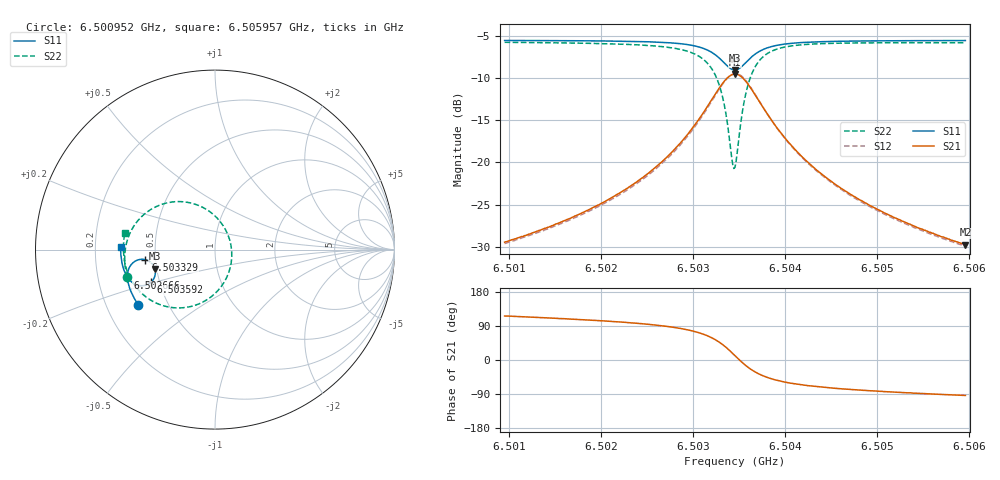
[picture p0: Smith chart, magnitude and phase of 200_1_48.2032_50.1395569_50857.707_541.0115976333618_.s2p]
#  HZ  S  RI  R  50.00
! Rohde & Schwarz Vector Network Analyzer
! Rohde-Schwarz,ZNB20-2Port,1311601062101988,3.16
! Created: UTC 3/20/2024, 11:44:59 AM
! freq[Hz]  re:S11  im:S11  re:S21  im:S21  re:S12  im:S12  re:S22  im:S22
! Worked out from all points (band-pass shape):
!   401 points, 6.500952 GHz to 6.505957 GHz, reference 50 ohm
!   highest |S21| = -9.55 dB at 6.503454 GHz (marker M1); lowest = -29.7 dB at 6.505957 GHz (marker M2)
!   |S21| within 3 dB of the highest: 6.503204 GHz to 6.503704 GHz (500.5 kHz wide, 0.0077 % of centre)
!   lowest |S11| = -9.1 dB at 6.503454 GHz (marker M3), VSWR 2.08, Z = 24.4 - j5.91 ohm
!   |S11| at or under -10 dB: nowhere
!   |S22| runs from -20.7 to -5.8 dB; largest |S21 - S12| = 0.012
!   S11 on the Smith chart (normalised r, x): 6.500952 GHz: 0.34, -0.29; 6.502666 GHz: 0.33, -0.14; 6.503329 GHz: 0.44, -0.06; 6.503592 GHz: 0.45, -0.19; 6.505957 GHz: 0.31, +0.01
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6.5009521e9  -0.4263 -0.3088  -0.0148 0.0303  -0.0132 0.0303  -0.49 -0.1538
6.5017904e9  -0.4624 -0.2469  -0.0142 0.0481  -0.0118 0.0476  -0.5031 -0.0648
6.5022658e9  -0.4789 -0.2046  -0.011 0.0683  -0.00802 0.0671  -0.4995 0.00353
6.5026286e9  -0.4874 -0.1641  -0.00202 0.0973  0.00155 0.0949  -0.4801 0.0767
6.5026662e9  -0.4879 -0.1592  -0.000306 0.1015  0.00335 0.099  -0.4762 0.0862
6.5029414e9  -0.4837 -0.1162  0.0268 0.1442  0.0304 0.1398  -0.4198 0.1725
6.5031291e9  -0.4619 -0.078  0.0817 0.1867  0.084 0.1804  -0.3149 0.2453
6.5032417e9  -0.4289 -0.0574  0.1515 0.2042  0.1523 0.1977  -0.1888 0.2672
6.5033293e9  -0.388 -0.056  0.2318 0.1873  0.2323 0.1822  -0.05 0.2252
6.5034168e9  -0.3459 -0.0845  0.3092 0.1138  0.3114 0.1091  0.0728 0.0806
6.5034419e9  -0.338 -0.0984  0.3223 0.0825  0.3253 0.077  0.0894 0.0216
6.5034544e9  -0.3353 -0.1061  0.3266 0.0658  0.3298 0.06  0.093 -0.00924
6.5034794e9  -0.3323 -0.1221  0.3299 0.0317  0.3334 0.0246  0.0905 -0.0716
6.503542e9  -0.3399 -0.1596  0.311 -0.0469  0.3131 -0.0571  0.0329 -0.2082
6.503592e9  -0.3565 -0.1817  0.2769 -0.0928  0.2764 -0.1042  -0.0447 -0.2793
6.5037046e9  -0.4013 -0.2011  0.1915 -0.1373  0.1859 -0.1469  -0.2175 -0.3246
6.5038672e9  -0.4478 -0.1914  0.1091 -0.1337  0.1019 -0.1387  -0.366 -0.2768
6.5040424e9  -0.4753 -0.17  0.0643 -0.1133  0.058 -0.1155  -0.4384 -0.2113
6.5042926e9  -0.496 -0.1401  0.0341 -0.0885  0.0292 -0.0892  -0.4819 -0.1386
6.504668e9  -0.5116 -0.1008  0.015 -0.0652  0.0115 -0.0647  -0.5042 -0.0635
6.5051309e9  -0.521 -0.058  0.00507 -0.0485  0.00283 -0.0478  -0.5103 0.00236
6.5059566e9  -0.5259 0.012  -0.00204 -0.0325  -0.00333 -0.0317  -0.5026 0.0899
